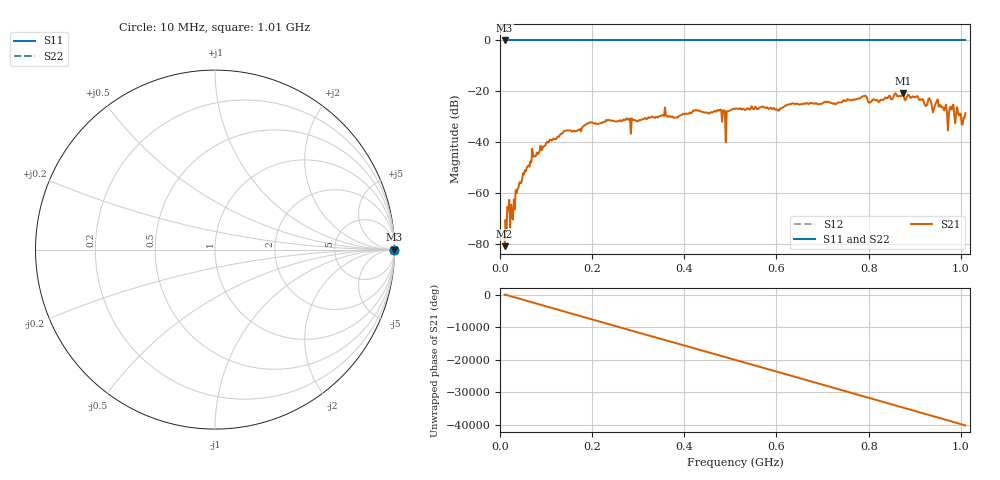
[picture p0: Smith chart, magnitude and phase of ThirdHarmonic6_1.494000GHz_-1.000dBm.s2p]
! 8/16/2025 5:31:28 PM
! C:\ANRITSUVNA\TEMP\TEMP.S2P
! CHANNEL.1
! TR.MEASUREMENT
! RAW.DATA
! RF.CORRECTION.OFF
! AVERAGING.OFF
! IF.BANDWIDTH: 5KHZ
! SWEEPTYPE:  FREQ.SWEEP(Linear)
! Reference Plane Port Info
! PORT:  PORT1  PORT2
! DISTANCE:  0  m  0  m
! TIME:  0  s  0  s
! PHASE.OFFSET:  0  deg.  0  deg.
! LOSS:  0  dB  0  dB
! REF.LOSS:  0  dB  0  dB
! REF.FREQ:  0  Hz  0  Hz
! Power Info
! POWER:  -20  dBm  -20  dBm
! EFF.POWER:  -20  dBm  -20  dBm
! SOURCE.ATTEN:  0  dB  0  dB
! TEST.ATTEN:  0  dB  0  dB
# GHZ S RI R 50.0
! FREQ.GHZ  S11RE  S11IM  S21RE  S21IM  S12RE  S12IM  S22RE  S22IM
!; PortSelection: Port_12
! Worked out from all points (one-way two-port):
!   501 points, 10 MHz to 1.01 GHz, reference 50 ohm
!   highest |S21| = -20.77 dB at 874 MHz (marker M1); lowest = -81.0 dB at 10 MHz (marker M2)
!   lowest |S11| = 0.0 dB at 10 MHz (marker M3)
!   |S11| at or under -10 dB: nowhere
!   |S22| runs from 0.0 to 0.0 dB; largest |S21 - S12| = 1.1
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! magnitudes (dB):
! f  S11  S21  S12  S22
! 10 MHz  0.0  -81.0  0.0  0.0
! 16 MHz  0.0  -65.6  0.0  0.0
! 26 MHz  0.0  -68.6  0.0  0.0
! 38 MHz  0.0  -58.6  0.0  0.0
! 70 MHz  0.0  -42.7  0.0  0.0
! 140 MHz  0.0  -35.6  0.0  0.0
! 178 MHz  0.0  -34.2  0.0  0.0
! 344 MHz  0.0  -30.1  0.0  0.0
! 476 MHz  0.0  -27.6  0.0  0.0
! 484 MHz  0.0  -27.6  0.0  0.0
! 486 MHz  0.0  -27.5  0.0  0.0
! 510 MHz  0.0  -26.9  0.0  0.0
! 678 MHz  0.0  -24.9  0.0  0.0
! 844 MHz  0.0  -21.8  0.0  0.0
! 874 MHz  0.0  -20.8  0.0  0.0
! 932 MHz  0.0  -22.8  0.0  0.0
! 940 MHz  0.0  -28.3  0.0  0.0
! 950 MHz  0.0  -23.2  0.0  0.0
! 974 MHz  0.0  -29.7  0.0  0.0
! 980 MHz  0.0  -27.2  0.0  0.0
! 1.004 GHz  0.0  -33.1  0.0  0.0
! 1.01 GHz  0.0  -28.7  0.0  0.0
